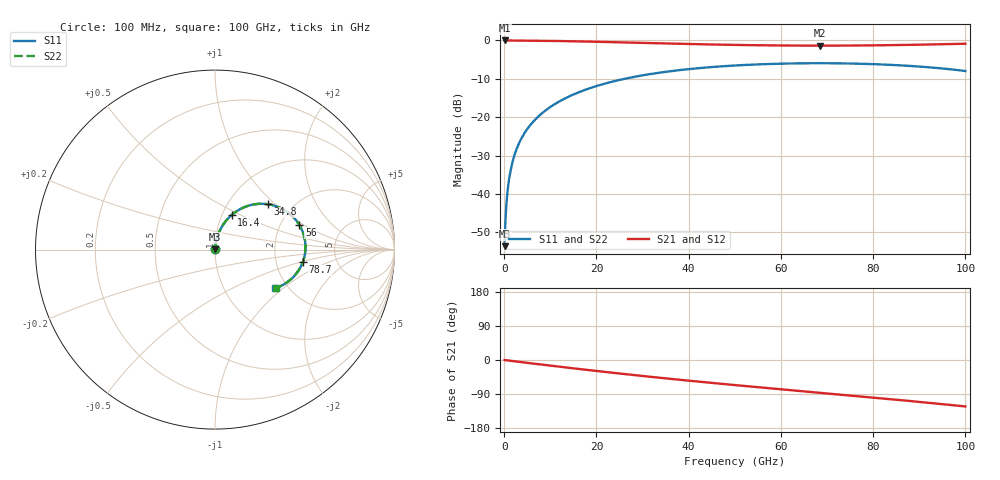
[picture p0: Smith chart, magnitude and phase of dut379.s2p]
! Touchstone file exported from HFSS 2026.1.0
!  File:  C:/ffzhzh/LocalFiles/Ansys_Project_Files/temp_train_RDL_379_1783503702_31944.aedt
!  Generated:  05:43:07 PM Jul  8, 2026
!  Design:  RDL
!  Project:  temp_train_RDL_379_1783503702_31944
! Variables:
!  h_bsmrdl = 2um
!  h_ox = 20um
!  h_rdl = 5um
!  h_sub = 80um
!  h_tmrdl = 4.49um
!  h_tsv = 80um
!  h_via = 3um
!  l_bsmrdl = 300um
!  l_sub = 806.83um
!  l_tmrdl = 406.83um
!  m_sub = 200um
!  pitch = 54.95um
!  r_tsv = 6um
!  s_tmrdl = 10um
!  w_bsmrdl = 18um
!  w_sub = 500um
!  w_tmrdl = 27.69um
!  x_tsv_center1 = 420.675um
!  x_tsv_center2 = 738.675um
!  x_tsv_center3 = 1173.195um
!  x_tsv_center4 = 1491.195um
!  x_tsv_center5 = 1925.715um
!  x_tsv_center6 = 2243.715um
# GHz S MA R 50.000000
! Terminal data exported
! Port[1] = TM_RDL1_1_T1
! Port[2] = TM_RDL1_1_T2
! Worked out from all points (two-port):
!   1000 points, 100 MHz to 100 GHz, reference 50 ohm
!   highest |S21| = -0.01 dB at 100 MHz (marker M1); lowest = -1.4 dB at 68.5 GHz (marker M2)
!   |S21| within 3 dB of the highest: start of sweep to end of sweep
!   lowest |S11| = -53.6 dB at 100 MHz (marker M3), VSWR 1.00, Z = 50.1 + j0.158 ohm
!   |S11| at or under -10 dB: start of sweep to 26.14 GHz
!   |S22| runs from -53.6 to -5.9 dB; largest |S21 - S12| = 1.6e-14
!   S11 on the Smith chart (normalised r, x): 100 MHz: 1.00, +0.00; 16.4 GHz: 1.11, +0.45; 34.8 GHz: 1.51, +0.90; 56 GHz: 2.54, +0.92; 78.7 GHz: 2.84, -0.53; 100 GHz: 1.73, -0.89
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0.1  0.00209 49.1  0.9986 -0.2  0.9986 -0.2  0.00209 49.1
! Gamma 0 0 0 0
! Port Impedance 50 0 50 0
0.8  0.0117 80.2  0.9982 -1.2  0.9982 -1.2  0.0117 80.2
1.1  0.01593 81.8  0.998 -1.7  0.998 -1.7  0.01593 81.8
1.4  0.02016 82.4  0.9979 -2.1  0.9979 -2.1  0.02016 82.4
1.9  0.02722 82.7  0.9976 -2.9  0.9976 -2.9  0.02722 82.7
2.4  0.03423 82.6  0.9971 -3.6  0.9971 -3.6  0.03423 82.6
3.8  0.05364 81.2  0.9957 -5.7  0.9957 -5.7  0.05364 81.2
5.9  0.08207 78.5  0.9928 -8.8  0.9928 -8.8  0.08207 78.5
8.6  0.1176 74.9  0.9883 -12.8  0.9883 -12.8  0.1176 74.9
12.1  0.1621 70.2  0.9812 -17.8  0.9812 -17.8  0.1621 70.2
16.4  0.2138 64.4  0.9705 -23.9  0.9705 -23.9  0.2138 64.4
16.8  0.2184 63.8  0.9694 -24.5  0.9694 -24.5  0.2184 63.8
24.2  0.2975 54.0  0.9473 -34.6  0.9473 -34.6  0.2975 54.0
33.4  0.3778 42.4  0.9178 -46.5  0.9178 -46.5  0.3778 42.4
34.8  0.3882 40.6  0.9134 -48.2  0.9134 -48.2  0.3882 40.7
50.1  0.4715 22.8  0.8734 -66.3  0.8734 -66.3  0.4714 22.9
56  0.4896 16.3  0.8635 -72.9  0.8635 -72.9  0.4896 16.4
66.7  0.5044 4.7  0.8549 -84.6  0.8549 -84.6  0.5044 4.8
68.5  0.5047 2.8  0.8547 -86.6  0.8547 -86.6  0.5047 2.9
78.7  0.4938 -8.2  0.8605 -97.8  0.8605 -97.8  0.4938 -8.1
83.4  0.4816 -13.4  0.8669 -103.0  0.8669 -103.0  0.4816 -13.3
100  0.3998 -32.6  0.9052 -122.6  0.9052 -122.6  0.3998 -32.4
